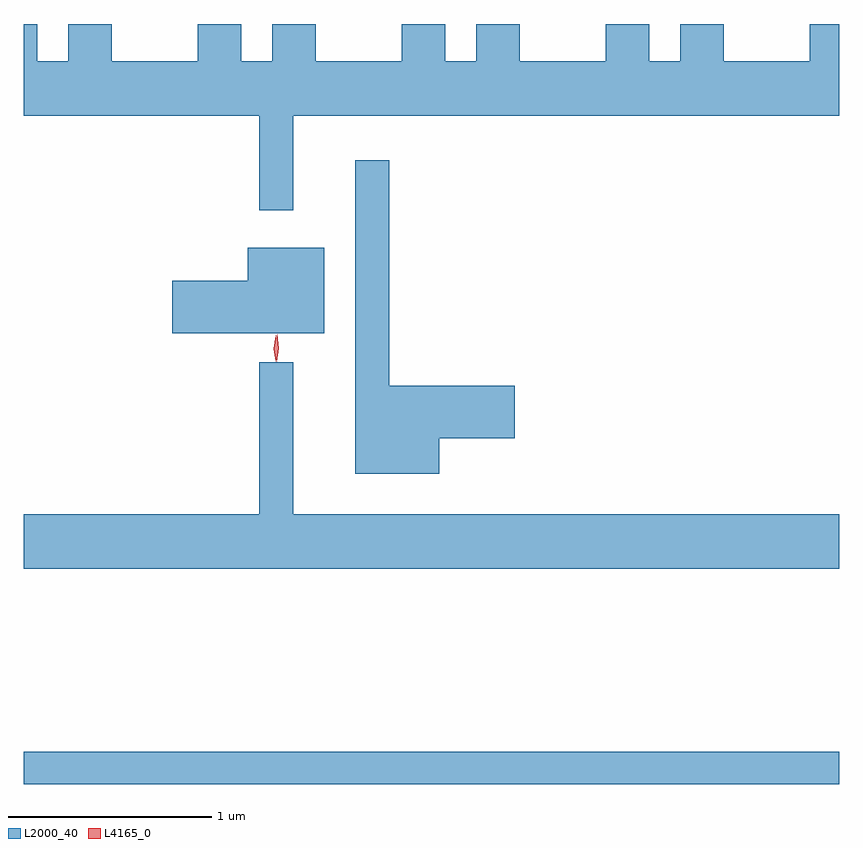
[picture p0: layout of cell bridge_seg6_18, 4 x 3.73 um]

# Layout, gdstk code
import gdstk
lib = gdstk.Library(unit=1e-6, precision=1e-09)
def R(c, l, rs):  # rectangles x0, y0, x1, y1
    for r in rs: c.add(gdstk.rectangle(r[:2], r[2:], *l))
def P(c, l, *ps):  # polygons
    for p in ps: c.add(gdstk.Polygon(p, *l))
L2000_40 = (2000, 40)
L4165_0 = (4165, 0)

bridge_seg6_18 = lib.new_cell('bridge_seg6_18')
R(bridge_seg6_18, L2000_40, [(1705.296,1584.501,1709.296,1584.659)])
P(bridge_seg6_18, L2000_40, [(1706.619,1587.776),(1709.296,1587.776),(1709.296,1588.227),(1709.151,1588.227),(1709.151,1588.044),(1708.729,1588.044),(1708.729,1588.227),(1708.516,1588.227),(1708.516,1588.044),(1708.364,1588.044),(1708.364,1588.227),(1708.151,1588.227),(1708.151,1588.044),(1707.729,1588.044),(1707.729,1588.227),(1707.516,1588.227),(1707.516,1588.044),(1707.364,1588.044),(1707.364,1588.227),(1707.151,1588.227),(1707.151,1588.044),(1706.729,1588.044),(1706.729,1588.227),(1706.516,1588.227),(1706.516,1588.044),(1706.364,1588.044),(1706.364,1588.227),(1706.151,1588.227),(1706.151,1588.044),(1705.729,1588.044),(1705.729,1588.227),(1705.516,1588.227),(1705.516,1588.044),(1705.364,1588.044),(1705.364,1588.227),(1705.296,1588.227),(1705.296,1587.776),(1706.451,1587.776),(1706.451,1587.313),(1706.619,1587.313)],
  [(1707.334,1586.196),(1707.704,1586.196),(1707.704,1586.454),(1707.089,1586.454),(1707.089,1587.558),(1706.921,1587.558),(1706.921,1586.021),(1707.334,1586.021)],
  [(1706.769,1587.129),(1706.396,1587.129),(1706.396,1586.969),(1706.026,1586.969),(1706.026,1586.711),(1706.769,1586.711)],
  [(1709.296,1585.824),(1706.619,1585.824),(1706.619,1586.568),(1706.451,1586.568),(1706.451,1585.824),(1705.296,1585.824),(1705.296,1585.556),(1709.296,1585.556)])
P(bridge_seg6_18, L4165_0, [(1706.537,1586.57),(1706.528,1586.638),(1706.539,1586.705),(1706.539,1586.706),(1706.54,1586.705),(1706.548,1586.638),(1706.538,1586.57),(1706.538,1586.57)],
  [(1706.532,1586.573),(1706.532,1586.573),(1706.522,1586.636),(1706.532,1586.699),(1706.532,1586.7),(1706.533,1586.699),(1706.542,1586.636),(1706.533,1586.573)])

lib.write_gds('bridge_seg6_18.gds')
